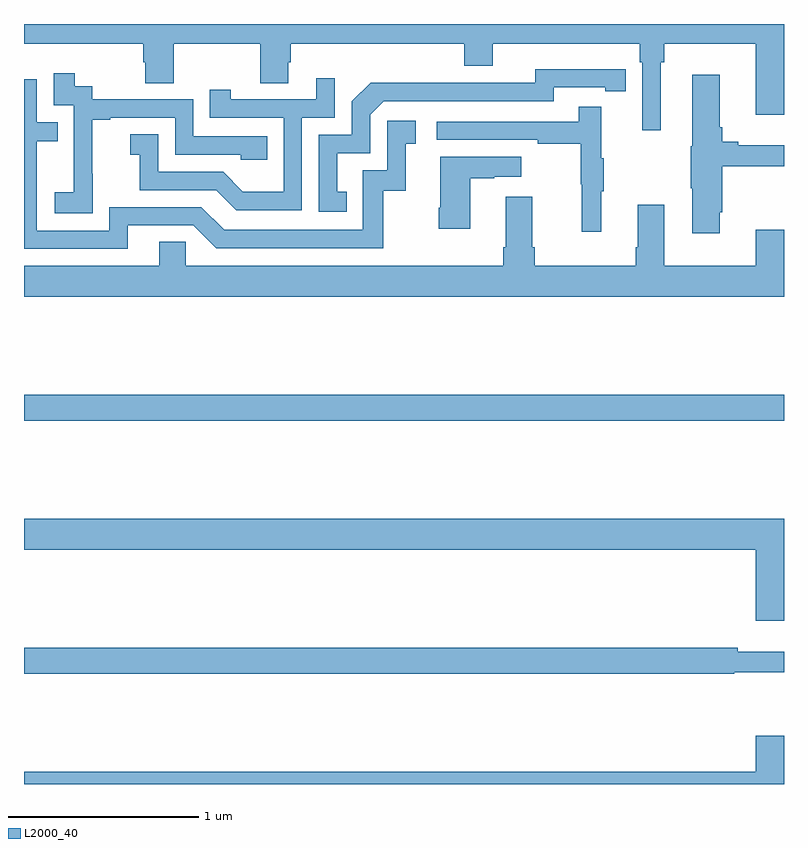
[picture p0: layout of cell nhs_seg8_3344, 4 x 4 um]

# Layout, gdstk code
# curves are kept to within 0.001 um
import gdstk
lib = gdstk.Library(unit=1e-6, precision=1e-09)
def R(c, l, rs):  # rectangles x0, y0, x1, y1
    for r in rs: c.add(gdstk.rectangle(r[:2], r[2:], *l))
def P(c, l, *ps):  # polygons
    for p in ps: c.add(gdstk.Polygon(p, *l))
L2000_40 = (2000, 40)

nhs_seg8_3344 = lib.new_cell('nhs_seg8_3344')
R(nhs_seg8_3344, L2000_40, [(317,1151.812,321,1151.948)])
P(nhs_seg8_3344, L2000_40, [(320.35,1153.7),(320.369,1153.7),(320.369,1153.796),(320.852,1153.796),(320.852,1153.422),(321,1153.422),(321,1153.9),(317,1153.9),(317,1153.796),(317.627,1153.796),(317.627,1153.698),(317.639,1153.698),(317.639,1153.588),(317.787,1153.588),(317.787,1153.796),(318.244,1153.796),(318.244,1153.588),(318.391,1153.588),(318.391,1153.698),(318.404,1153.698),(318.404,1153.796),(319.316,1153.796),(319.316,1153.679),(319.468,1153.679),(319.468,1153.796),(320.24,1153.796),(320.24,1153.7),(320.253,1153.7),(320.253,1153.341),(320.35,1153.341)],
  [(318.698,1153.017),(318.649,1153.017),(318.649,1153.221),(318.822,1153.221),(318.822,1153.422),(318.894,1153.494),(319.788,1153.494),(319.788,1153.566),(320.06,1153.566),(320.06,1153.546),(320.168,1153.546),(320.168,1153.662),(319.692,1153.663),(319.692,1153.59),(319.232,1153.59),(319.232,1153.592),(318.824,1153.592),(318.726,1153.494),(318.726,1153.317),(318.552,1153.317),(318.552,1152.912),(318.698,1152.912)],
  [(317.361,1153.111),(317.36,1153.111),(317.36,1153.395),(317.455,1153.395),(317.455,1153.407),(317.796,1153.407),(317.796,1153.212),(318.141,1153.212),(318.141,1153.185),(318.281,1153.185),(318.281,1153.308),(317.892,1153.308),(317.892,1153.503),(317.358,1153.503),(317.358,1153.572),(317.266,1153.572),(317.266,1153.642),(317.157,1153.642),(317.157,1153.473),(317.262,1153.473),(317.262,1153.244),(317.261,1153.244),(317.261,1153.015),(317.163,1153.015),(317.163,1152.905),(317.361,1152.905)],
  [(320.662,1152.91),(320.675,1152.91),(320.675,1153.152),(321,1153.152),(321,1153.261),(320.758,1153.261),(320.758,1153.28),(320.675,1153.28),(320.675,1153.357),(320.662,1153.357),(320.662,1153.633),(320.516,1153.633),(320.516,1153.257),(320.509,1153.257),(320.509,1153.036),(320.516,1153.036),(320.516,1152.798),(320.662,1152.798)],
  [(318.462,1153.407),(318.636,1153.407),(318.636,1153.615),(318.539,1153.615),(318.539,1153.503),(318.088,1153.503),(318.088,1153.555),(317.977,1153.555),(317.977,1153.407),(318.366,1153.407),(318.366,1153.018),(318.152,1153.018),(318.048,1153.122),(317.706,1153.122),(317.706,1153.321),(317.559,1153.321),(317.559,1153.211),(317.608,1153.211),(317.608,1153.026),(318.011,1153.026),(318.116,1152.921),(318.462,1152.921)],
  [(317.545,1152.84),(317.892,1152.84),(318.012,1152.72),(318.892,1152.72),(318.892,1153.023),(319.01,1153.023),(319.01,1153.269),(319.063,1153.269),(319.063,1153.39),(318.912,1153.39),(318.912,1153.131),(318.783,1153.131),(318.783,1152.816),(318.054,1152.816),(317.934,1152.936),(317.448,1152.936),(317.448,1152.813),(317.067,1152.813),(317.067,1153.282),(317.177,1153.282),(317.177,1153.383),(317.067,1153.383),(317.067,1153.608),(317,1153.608),(317,1152.717),(317.545,1152.717)],
  [(320.039,1153.019),(320.05,1153.019),(320.05,1153.193),(320.039,1153.193),(320.039,1153.465),(319.921,1153.465),(319.921,1153.386),(319.173,1153.386),(319.173,1153.29),(319.705,1153.29),(319.705,1153.27),(319.929,1153.27),(319.929,1153.056),(319.936,1153.056),(319.936,1152.807),(320.039,1152.807)],
  [(319.348,1153.087),(319.475,1153.087),(319.475,1153.097),(319.618,1153.097),(319.618,1153.201),(319.19,1153.201),(319.19,1152.934),(319.183,1152.934),(319.183,1152.822),(319.348,1152.822)],
  [(321,1152.817),(320.852,1152.817),(320.852,1152.628),(320.371,1152.628),(320.371,1152.949),(320.231,1152.949),(320.231,1152.724),(320.219,1152.724),(320.219,1152.628),(319.688,1152.628),(319.688,1152.724),(319.675,1152.724),(319.675,1152.991),(319.535,1152.991),(319.535,1152.724),(319.523,1152.724),(319.523,1152.628),(317.85,1152.628),(317.85,1152.755),(317.711,1152.755),(317.711,1152.628),(317,1152.628),(317,1152.464),(321,1152.464)],
  [(321,1151.296),(317,1151.296),(317,1151.132),(320.852,1151.132),(320.852,1150.758),(321,1150.758)],
  [(320.738,1150.488),(321,1150.488),(321,1150.597),(320.756,1150.597),(320.756,1150.616),(317,1150.616),(317,1150.48),(320.738,1150.48)],
  [(321,1150.153),(320.852,1150.153),(320.852,1149.964),(317,1149.964),(317,1149.9),(321,1149.9)])

lib.write_gds('nhs_seg8_3344.gds')
